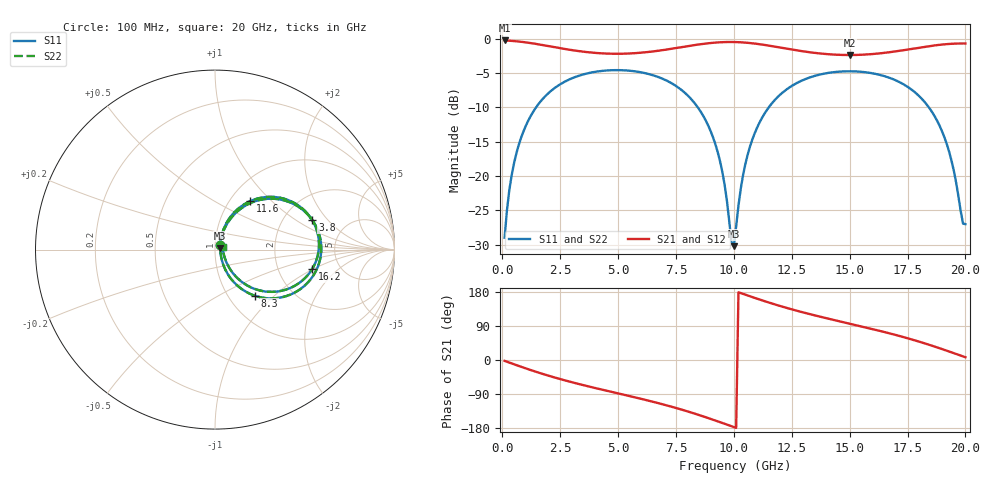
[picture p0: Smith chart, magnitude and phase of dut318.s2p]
! Touchstone file exported from HFSS 2026.1.0
!  File:  C:/ffzhzh/LocalFiles/Ansys_Project_Files/temp_train_TSV_RDL_318_1783030929_55676.aedt
!  Generated:  06:40:44 AM Jul  3, 2026
!  Design:  TSV_RDL
!  Project:  temp_train_TSV_RDL_318_1783030929_55676
! Variables:
!  h_bsmrdl = 4.62um
!  h_ox = 20um
!  h_rdl = 5um
!  h_sub = 59.47um
!  h_tmrdl = 3.92um
!  h_tsv = 59.47um
!  h_via = 3um
!  l_bsmrdl = 996.27um
!  l_sub = 6249.6um
!  l_tmrdl = 684.98um
!  m_sub = 200um
!  pitch = 53.95um
!  r_tsv = 9.54um
!  s_tmrdl = 10um
!  w_bsmrdl = 22.83um
!  w_sub = 500um
!  w_tmrdl = 17.46um
!  x_tsv_center1 = 693.71um
!  x_tsv_center2 = 1712.81um
!  x_tsv_center3 = 2415.25um
!  x_tsv_center4 = 3434.35um
!  x_tsv_center5 = 4136.79um
!  x_tsv_center6 = 5155.89um
# GHz S MA R 50.000000
! Terminal data exported
! Port[1] = TM_RDL1_1_T1
! Port[2] = TM_RDL5_1_T1
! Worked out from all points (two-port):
!   200 points, 100 MHz to 20 GHz, reference 50 ohm
!   highest |S21| = -0.22 dB at 100 MHz (marker M1); lowest = -2.3 dB at 15 GHz (marker M2)
!   |S21| within 3 dB of the highest: start of sweep to end of sweep
!   lowest |S11| = -30.2 dB at 10 GHz (marker M3), VSWR 1.06, Z = 53 + j0.97 ohm
!   |S11| at or under -10 dB: start of sweep to 1.457 GHz; 8.446 GHz to 11.51 GHz (3.06 GHz wide, 30.7 % of centre); 18.42 GHz to end of sweep
!   |S22| runs from -30.3 to -4.6 dB; largest |S21 - S12| = 1.6e-14
!   S11 on the Smith chart (normalised r, x): 100 MHz: 1.05, +0.05; 3.8 GHz: 2.88, +1.39; 8.3 GHz: 1.32, -0.77; 11.6 GHz: 1.23, +0.75; 16.2 GHz: 3.13, -0.98; 20 GHz: 1.09, +0.03
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0.1  0.03546 43.1  0.9748 -2.3  0.9748 -2.3  0.03546 43.1
! Gamma 0 0 0 0
! Port Impedance 50 0 50 0
0.3  0.07804 63.1  0.9705 -6.8  0.9705 -6.8  0.07804 63.1
0.5  0.1224 65.6  0.965 -11.2  0.965 -11.2  0.1224 65.6
1.1  0.2493 59.4  0.9398 -23.9  0.9398 -23.9  0.2493 59.4
2.1  0.4172 42.8  0.8802 -43.3  0.8802 -43.3  0.4172 42.8
3.5  0.5511 21.1  0.8072 -66.4  0.8072 -66.4  0.5511 21.1
3.8  0.5668 16.8  0.7969 -70.9  0.7969 -70.9  0.5668 16.8
5.3  0.5897 -3.8  0.781 -92.4  0.781 -92.4  0.5897 -3.8
6.8  0.5224 -25.1  0.8228 -114.8  0.8228 -114.8  0.5224 -25.1
8.3  0.3411 -49.0  0.9017 -141.3  0.9017 -141.3  0.3411 -49.1
9.3  0.1501 -62.5  0.9431 -161.8  0.9431 -161.8  0.1501 -62.6
10  0.03076 17.3  0.9495 -176.9  0.9495 -176.9  0.03047 17.4
10.1  0.04278 45.5  0.9485 -179.1  0.9485 -179.1  0.04255 45.8
10.6  0.1438 67.0  0.9369 170.2  0.9369 170.2  0.1437 67.1
11.6  0.3318 54.2  0.8888 149.9  0.8888 149.9  0.3317 54.2
13.4  0.5317 26.6  0.7945 119.2  0.7945 119.2  0.5317 26.6
15  0.5808 4.8  0.7632 95.9  0.7632 95.9  0.5807 4.8
16.2  0.552 -11.3  0.7816 78.4  0.7816 78.4  0.5519 -11.3
16.7  0.522 -18.4  0.7991 70.7  0.7991 70.7  0.522 -18.3
18.8  0.249 -49.4  0.9024 32.8  0.9024 32.8  0.2489 -49.4
19.3  0.1499 -52.7  0.9194 22.4  0.9194 22.4  0.1499 -52.7
20  0.04458 19.6  0.9264 7.3  0.9264 7.3  0.04474 19.6
